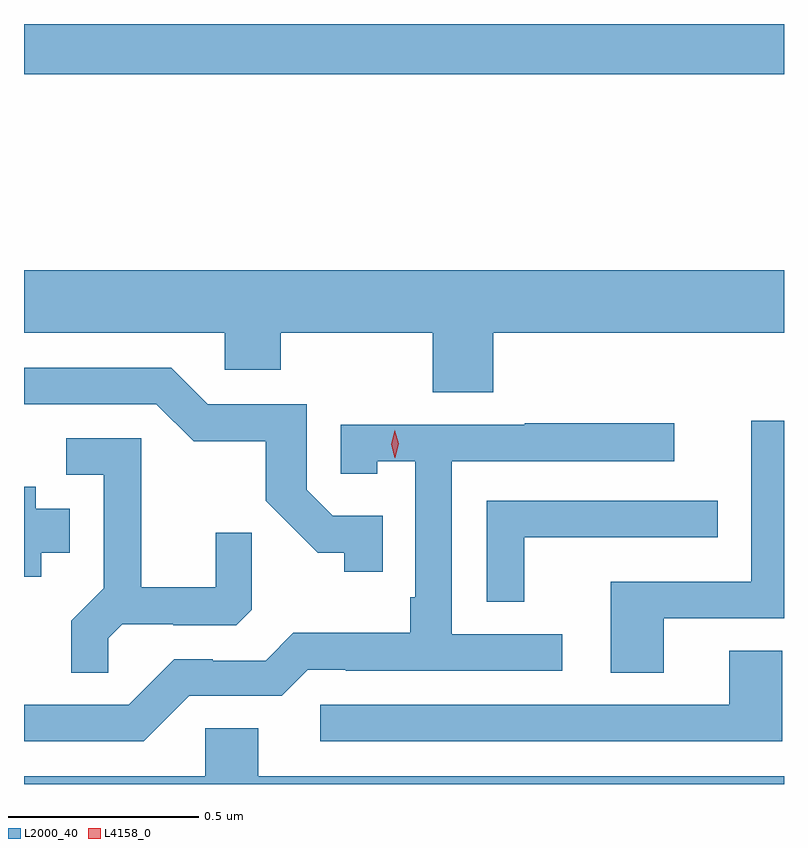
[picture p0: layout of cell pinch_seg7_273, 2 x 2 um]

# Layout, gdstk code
import gdstk
lib = gdstk.Library(unit=1e-6, precision=1e-09)
def R(c, l, rs):  # rectangles x0, y0, x1, y1
    for r in rs: c.add(gdstk.rectangle(r[:2], r[2:], *l))
def P(c, l, *ps):  # polygons
    for p in ps: c.add(gdstk.Polygon(p, *l))
L2000_40 = (2000, 40)
L4158_0 = (4158, 0)

pinch_seg7_273 = lib.new_cell('pinch_seg7_273')
R(pinch_seg7_273, L2000_40, [(804.615,1051.912,806.615,1052.044)])
P(pinch_seg7_273, L2000_40, [(805.85,1051.232),(806.615,1051.232),(806.615,1051.396),(804.615,1051.396),(804.615,1051.232),(805.143,1051.232),(805.143,1051.134),(805.29,1051.134),(805.29,1051.232),(805.69,1051.232),(805.69,1051.075),(805.85,1051.075)],
  [(805.559,1050.75),(805.428,1050.75),(805.359,1050.819),(805.359,1051.044),(805.098,1051.044),(805.002,1051.14),(804.615,1051.14),(804.615,1051.044),(804.963,1051.044),(805.062,1050.946),(805.251,1050.946),(805.251,1050.79),(805.388,1050.653),(805.458,1050.653),(805.458,1050.603),(805.559,1050.603)],
  [(806.299,1050.48),(806.615,1050.48),(806.615,1051),(806.529,1051),(806.529,1050.576),(806.159,1050.576),(806.159,1050.337),(806.299,1050.337)],
  [(805.05,1050.276),(805.293,1050.276),(805.362,1050.345),(805.462,1050.345),(805.462,1050.342),(806.032,1050.342),(806.032,1050.438),(805.74,1050.438),(805.74,1050.894),(806.326,1050.894),(806.326,1050.993),(805.933,1050.993),(805.933,1050.99),(805.449,1050.99),(805.449,1050.861),(805.545,1050.861),(805.545,1050.893),(805.644,1050.893),(805.644,1050.535),(805.632,1050.535),(805.632,1050.442),(805.324,1050.442),(805.251,1050.369),(805.112,1050.369),(805.112,1050.372),(805.011,1050.372),(804.891,1050.252),(804.615,1050.252),(804.615,1050.156),(804.93,1050.156)],
  [(804.837,1050.428),(804.874,1050.465),(805.008,1050.465),(805.008,1050.462),(805.173,1050.462),(805.214,1050.503),(805.214,1050.705),(805.12,1050.705),(805.12,1050.562),(804.923,1050.562),(804.923,1050.954),(804.726,1050.954),(804.726,1050.858),(804.825,1050.858),(804.825,1050.559),(804.739,1050.473),(804.739,1050.337),(804.837,1050.337)],
  [(804.661,1050.653),(804.736,1050.653),(804.736,1050.769),(804.646,1050.769),(804.646,1050.826),(804.615,1050.826),(804.615,1050.59),(804.661,1050.59)],
  [(805.932,1050.693),(806.327,1050.693),(806.327,1050.694),(806.44,1050.694),(806.44,1050.789),(805.833,1050.789),(805.833,1050.523),(805.932,1050.523)],
  [(806.611,1050.395),(806.471,1050.395),(806.471,1050.252),(805.395,1050.252),(805.395,1050.156),(806.611,1050.156)],
  [(806.615,1050.064),(805.231,1050.064),(805.231,1050.191),(805.092,1050.191),(805.092,1050.064),(804.615,1050.064),(804.615,1050.044),(806.615,1050.044)])
P(pinch_seg7_273, L4158_0, [(805.591,1050.903),(805.581,1050.938),(805.59,1050.975),(805.59,1050.975),(805.59,1050.975),(805.601,1050.939),(805.592,1050.903),(805.592,1050.903)])

lib.write_gds('pinch_seg7_273.gds')
